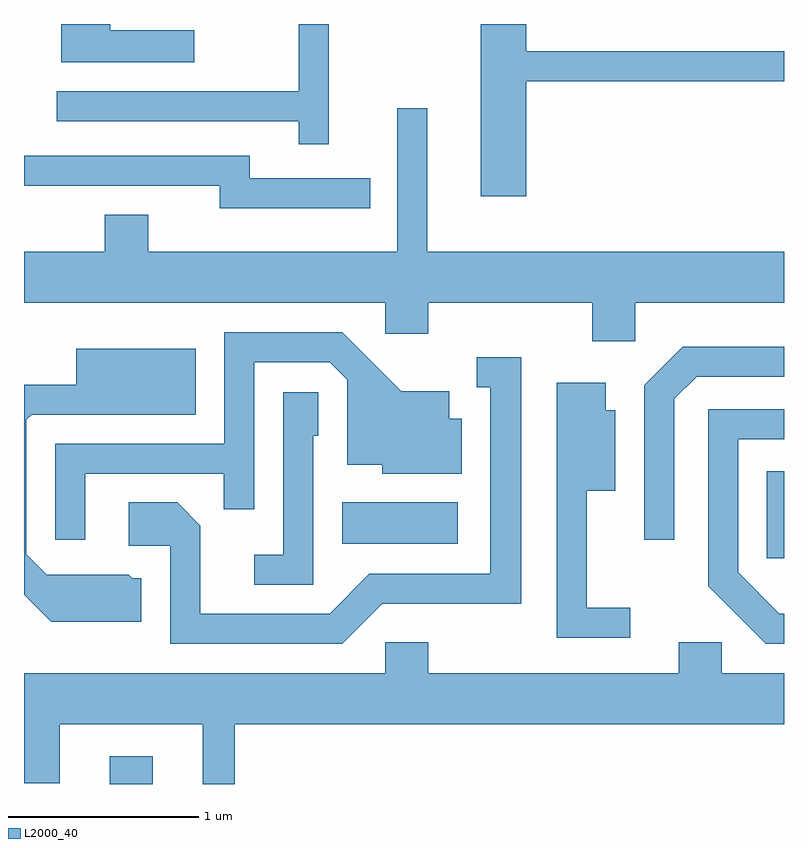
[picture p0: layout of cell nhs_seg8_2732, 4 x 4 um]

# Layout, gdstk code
import gdstk
lib = gdstk.Library(unit=1e-6, precision=1e-09)
def R(c, l, rs):  # rectangles x0, y0, x1, y1
    for r in rs: c.add(gdstk.rectangle(r[:2], r[2:], *l))
def P(c, l, *ps):  # polygons
    for p in ps: c.add(gdstk.Polygon(p, *l))
L2000_40 = (2000, 40)

nhs_seg8_2732 = lib.new_cell('nhs_seg8_2732')
R(nhs_seg8_2732, L2000_40, [(268.061,1818.342,268.289,1818.489), (271.521,1819.531,271.611,1819.989), (269.286,1819.606,269.894,1819.824)])
P(nhs_seg8_2732, L2000_40, [(269.214,1822.342),(269.056,1822.342),(269.056,1821.989),(267.783,1821.989),(267.783,1821.831),(269.056,1821.831),(269.056,1821.708),(269.214,1821.708)],
  [(268.508,1822.309),(268.064,1822.309),(268.064,1822.342),(267.806,1822.342),(267.806,1822.141),(268.508,1822.141)],
  [(270.254,1822.041),(271.611,1822.041),(271.611,1822.199),(270.254,1822.199),(270.254,1822.342),(270.016,1822.342),(270.016,1821.436),(270.254,1821.436)],
  [(270.829,1820.876),(271.611,1820.876),(271.611,1821.144),(269.734,1821.144),(269.734,1821.898),(269.576,1821.898),(269.576,1821.144),(268.264,1821.144),(268.264,1821.339),(268.036,1821.339),(268.036,1821.144),(267.611,1821.144),(267.611,1820.876),(269.511,1820.876),(269.511,1820.711),(269.739,1820.711),(269.739,1820.876),(270.601,1820.876),(270.601,1820.671),(270.829,1820.671)],
  [(269.433,1821.529),(268.799,1821.529),(268.799,1821.649),(267.611,1821.649),(267.611,1821.491),(268.641,1821.491),(268.641,1821.371),(269.433,1821.371)],
  [(267.934,1819.976),(268.661,1819.976),(268.661,1819.788),(268.824,1819.788),(268.824,1820.561),(269.219,1820.561),(269.311,1820.469),(269.311,1820.021),(269.496,1820.021),(269.496,1819.976),(269.914,1819.976),(269.914,1820.264),(269.849,1820.264),(269.849,1820.409),(269.597,1820.409),(269.287,1820.719),(268.666,1820.719),(268.666,1820.134),(267.776,1820.134),(267.776,1819.628),(267.934,1819.628)],
  [(271.034,1820.369),(271.152,1820.486),(271.611,1820.486),(271.611,1820.644),(271.079,1820.644),(270.876,1820.442),(270.876,1819.628),(271.034,1819.628)],
  [(268.229,1819.424),(268.182,1819.424),(268.162,1819.444),(267.732,1819.444),(267.624,1819.552),(267.624,1820.259),(267.652,1820.286),(268.514,1820.286),(268.514,1820.634),(267.886,1820.634),(267.886,1820.444),(267.611,1820.444),(267.611,1819.339),(267.754,1819.196),(268.229,1819.196)],
  [(269.497,1819.291),(270.229,1819.291),(270.229,1820.589),(269.993,1820.589),(269.993,1820.431),(270.066,1820.431),(270.066,1819.449),(269.429,1819.449),(269.219,1819.239),(268.539,1819.239),(268.539,1819.702),(268.417,1819.824),(268.161,1819.824),(268.161,1819.596),(268.381,1819.596),(268.381,1819.081),(269.287,1819.081)],
  [(270.803,1819.269),(270.574,1819.269),(270.574,1819.886),(270.724,1819.886),(270.724,1820.309),(270.674,1820.309),(270.674,1820.454),(270.416,1820.454),(270.416,1819.111),(270.803,1819.111)],
  [(269.134,1820.176),(269.159,1820.176),(269.159,1820.404),(268.976,1820.404),(268.976,1819.549),(268.823,1819.549),(268.823,1819.391),(269.134,1819.391)],
  [(271.611,1819.239),(271.587,1819.239),(271.369,1819.457),(271.369,1820.156),(271.611,1820.156),(271.611,1820.314),(271.211,1820.314),(271.211,1819.384),(271.514,1819.081),(271.611,1819.081)],
  [(268.719,1818.656),(271.611,1818.656),(271.611,1818.924),(271.284,1818.924),(271.284,1819.089),(271.056,1819.089),(271.056,1818.924),(269.739,1818.924),(269.739,1819.089),(269.511,1819.089),(269.511,1818.924),(267.611,1818.924),(267.611,1818.346),(267.799,1818.346),(267.799,1818.656),(268.551,1818.656),(268.551,1818.342),(268.719,1818.342)])

lib.write_gds('nhs_seg8_2732.gds')
